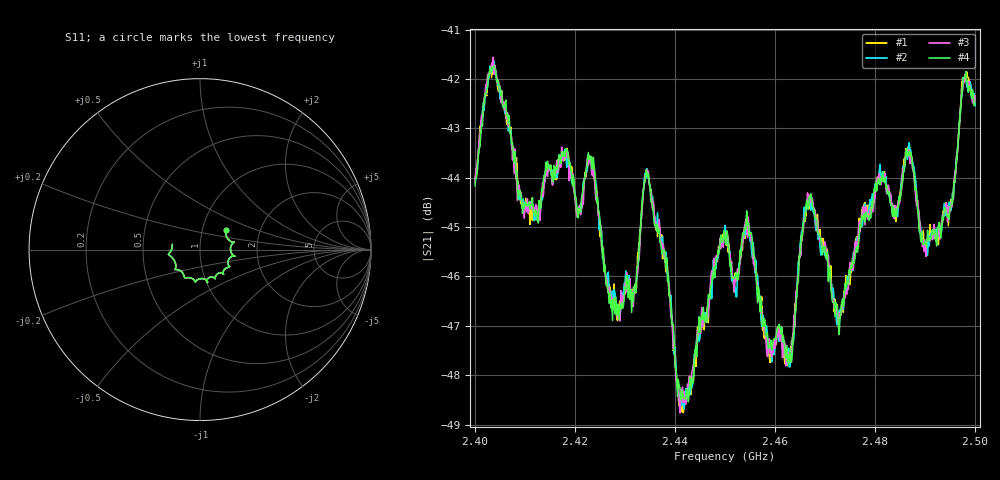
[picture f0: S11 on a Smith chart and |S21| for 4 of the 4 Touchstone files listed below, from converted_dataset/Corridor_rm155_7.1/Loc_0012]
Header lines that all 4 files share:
# Hz S RI R 50
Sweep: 2.4 GHz to 2.5 GHz
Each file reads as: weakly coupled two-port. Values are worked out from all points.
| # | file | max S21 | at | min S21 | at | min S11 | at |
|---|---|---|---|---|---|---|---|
| 1 | Lab_139_1Ch1.s2p | -41.70 dB | 2.4038 GHz | -48.8 dB | 2.4417 GHz | -15.7 dB | 2.4993 GHz |
| 2 | Lab_139_6Ch1.s2p | -41.65 dB | 2.4038 GHz | -48.7 dB | 2.4418 GHz | -15.8 dB | 2.49 GHz |
| 3 | Lab_139_7Ch1.s2p | -41.56 dB | 2.4037 GHz | -48.8 dB | 2.441 GHz | -15.7 dB | 2.49 GHz |
| 4 | Lab_139_8Ch1.s2p | -41.73 dB | 2.4038 GHz | -48.5 dB | 2.4427 GHz | -15.7 dB | 2.4898 GHz |
